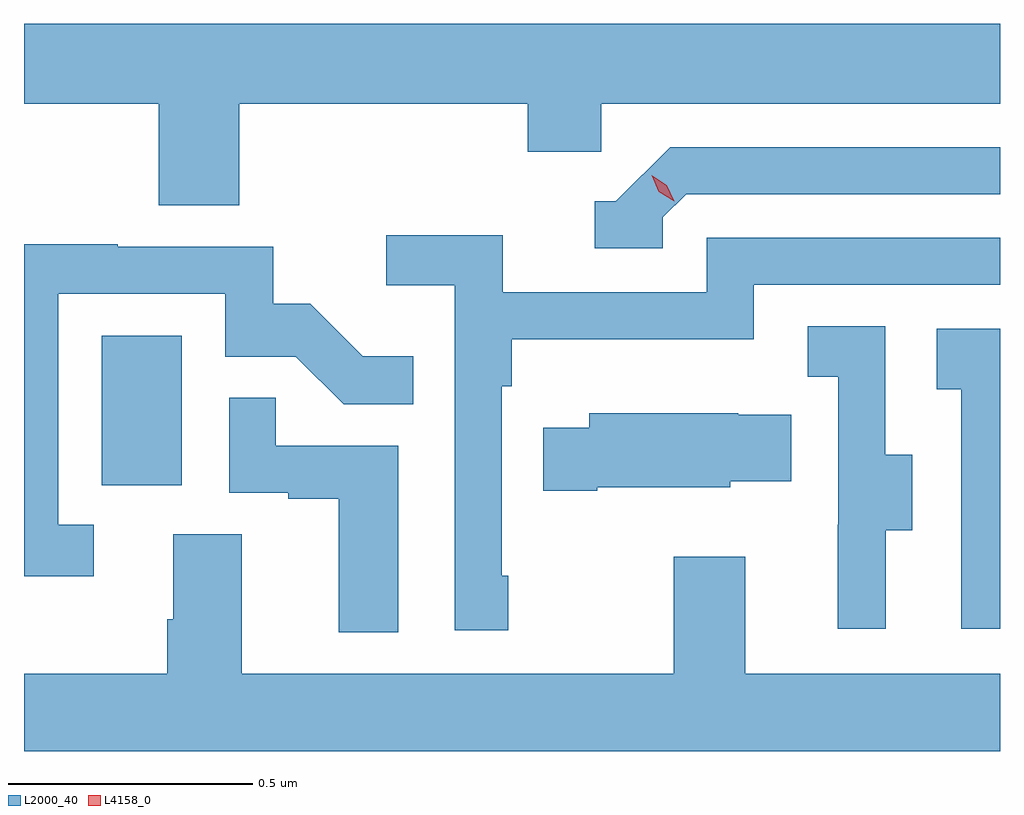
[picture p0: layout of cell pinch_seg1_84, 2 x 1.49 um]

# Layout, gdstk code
import gdstk
lib = gdstk.Library(unit=1e-6, precision=1e-09)
def R(c, l, rs):  # rectangles x0, y0, x1, y1
    for r in rs: c.add(gdstk.rectangle(r[:2], r[2:], *l))
def P(c, l, *ps):  # polygons
    for p in ps: c.add(gdstk.Polygon(p, *l))
L2000_40 = (2000, 40)
L4158_0 = (4158, 0)

pinch_seg1_84 = lib.new_cell('pinch_seg1_84')
R(pinch_seg1_84, L2000_40, [(1072.634,577.59,1072.798,577.897)])
P(pinch_seg1_84, L2000_40, [(1072.916,578.372),(1073.507,578.372),(1073.507,578.274),(1073.658,578.274),(1073.658,578.372),(1074.475,578.372),(1074.475,578.536),(1072.475,578.536),(1072.475,578.372),(1072.751,578.372),(1072.751,578.164),(1072.916,578.164)],
  [(1073.784,578.139),(1073.832,578.187),(1074.475,578.187),(1074.475,578.283),(1073.799,578.283),(1073.688,578.172),(1073.645,578.172),(1073.645,578.076),(1073.784,578.076)],
  [(1073.467,577.405),(1073.454,577.405),(1073.454,577.793),(1073.474,577.793),(1073.474,577.889),(1073.97,577.889),(1073.97,578.001),(1074.475,578.001),(1074.475,578.097),(1073.874,578.097),(1073.874,577.986),(1073.456,577.986),(1073.456,578.102),(1073.217,578.102),(1073.217,578),(1073.358,578),(1073.358,577.293),(1073.467,577.293)],
  [(1072.618,577.509),(1072.545,577.509),(1072.545,577.983),(1072.887,577.983),(1072.887,577.854),(1073.032,577.854),(1073.13,577.756),(1073.273,577.756),(1073.273,577.855),(1073.169,577.855),(1073.062,577.962),(1072.986,577.962),(1072.986,578.079),(1072.667,578.079),(1072.667,578.084),(1072.475,578.084),(1072.475,577.404),(1072.618,577.404)],
  [(1074.241,577.498),(1074.295,577.498),(1074.295,577.653),(1074.24,577.653),(1074.24,577.916),(1074.081,577.916),(1074.081,577.813),(1074.144,577.813),(1074.144,577.509),(1074.143,577.509),(1074.143,577.296),(1074.241,577.296)],
  [(1074.475,577.911),(1074.345,577.911),(1074.345,577.787),(1074.396,577.787),(1074.396,577.296),(1074.475,577.296)],
  [(1073.242,577.671),(1072.991,577.671),(1072.991,577.769),(1072.896,577.769),(1072.896,577.575),(1073.017,577.575),(1073.017,577.563),(1073.12,577.563),(1073.12,577.289),(1073.242,577.289)],
  [(1073.65,577.586),(1073.922,577.586),(1073.922,577.598),(1074.047,577.598),(1074.047,577.735),(1073.939,577.735),(1073.939,577.738),(1073.633,577.738),(1073.633,577.708),(1073.539,577.708),(1073.539,577.579),(1073.65,577.579)],
  [(1073.806,577.444),(1073.806,577.204),(1072.921,577.204),(1072.921,577.49),(1072.781,577.49),(1072.781,577.316),(1072.769,577.316),(1072.769,577.204),(1072.475,577.204),(1072.475,577.045),(1074.475,577.045),(1074.475,577.204),(1073.953,577.204),(1073.953,577.444)])
P(pinch_seg1_84, L4158_0, [(1073.807,578.172),(1073.776,578.192),(1073.761,578.225),(1073.761,578.225),(1073.761,578.225),(1073.792,578.205),(1073.807,578.172),(1073.807,578.172)])

lib.write_gds('pinch_seg1_84.gds')
